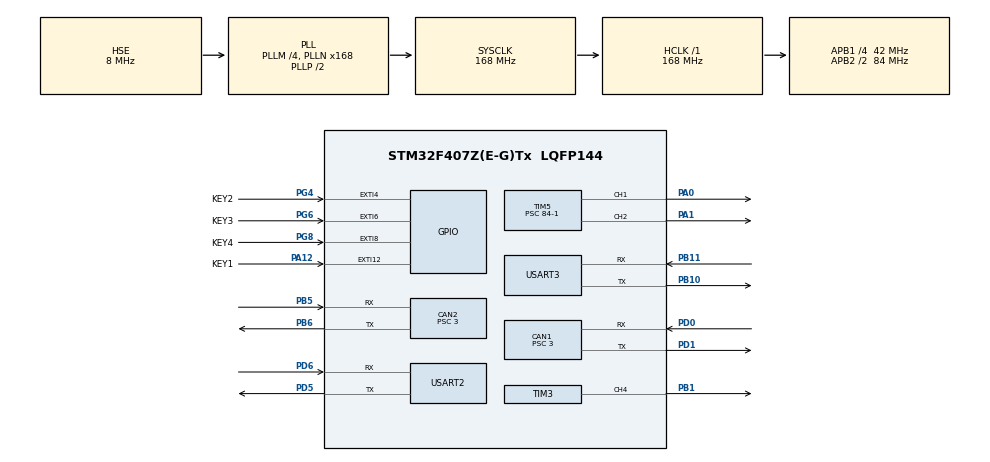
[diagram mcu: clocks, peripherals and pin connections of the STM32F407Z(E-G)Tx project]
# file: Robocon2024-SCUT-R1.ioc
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CAN1.BS1=CAN_BS1_9TQ
CAN1.BS2=CAN_BS2_4TQ
CAN1.CalculateBaudRate=1000000
CAN1.CalculateTimeBit=1000
CAN1.CalculateTimeQuantum=71.42857142857143
CAN1.Prescaler=3
CAN2.BS1=CAN_BS1_9TQ
CAN2.BS2=CAN_BS2_4TQ
CAN2.CalculateBaudRate=1000000
CAN2.CalculateTimeBit=1000
CAN2.CalculateTimeQuantum=71.42857142857143
CAN2.Prescaler=3
Dma.Request0=USART3_RX
Dma.Request1=USART3_TX
Dma.Request2=USART2_RX
Dma.Request3=USART2_TX
Dma.USART2_RX.2.Direction=DMA_PERIPH_TO_MEMORY
Dma.USART2_RX.2.FIFOMode=DMA_FIFOMODE_DISABLE
Dma.USART2_RX.2.Instance=DMA1_Stream5
Dma.USART2_RX.2.MemDataAlignment=DMA_MDATAALIGN_BYTE
Dma.USART2_RX.2.MemInc=DMA_MINC_ENABLE
Dma.USART2_RX.2.Mode=DMA_NORMAL
Dma.USART2_RX.2.PeriphDataAlignment=DMA_PDATAALIGN_BYTE
Dma.USART2_RX.2.PeriphInc=DMA_PINC_DISABLE
Dma.USART2_RX.2.Priority=DMA_PRIORITY_LOW
Dma.USART2_TX.3.Direction=DMA_MEMORY_TO_PERIPH
Dma.USART2_TX.3.FIFOMode=DMA_FIFOMODE_DISABLE
Dma.USART2_TX.3.Instance=DMA1_Stream6
Dma.USART2_TX.3.MemDataAlignment=DMA_MDATAALIGN_BYTE
Dma.USART2_TX.3.MemInc=DMA_MINC_ENABLE
Dma.USART2_TX.3.Mode=DMA_NORMAL
Dma.USART2_TX.3.PeriphDataAlignment=DMA_PDATAALIGN_BYTE
Dma.USART2_TX.3.PeriphInc=DMA_PINC_DISABLE
Dma.USART2_TX.3.Priority=DMA_PRIORITY_LOW
Dma.USART3_RX.0.Direction=DMA_PERIPH_TO_MEMORY
Dma.USART3_RX.0.FIFOMode=DMA_FIFOMODE_DISABLE
Dma.USART3_RX.0.Instance=DMA1_Stream1
Dma.USART3_RX.0.MemDataAlignment=DMA_MDATAALIGN_BYTE
Dma.USART3_RX.0.MemInc=DMA_MINC_ENABLE
Dma.USART3_RX.0.Mode=DMA_NORMAL
Dma.USART3_RX.0.PeriphDataAlignment=DMA_PDATAALIGN_BYTE
Dma.USART3_RX.0.PeriphInc=DMA_PINC_DISABLE
Dma.USART3_RX.0.Priority=DMA_PRIORITY_LOW
Dma.USART3_TX.1.Direction=DMA_MEMORY_TO_PERIPH
Dma.USART3_TX.1.FIFOMode=DMA_FIFOMODE_DISABLE
Dma.USART3_TX.1.Instance=DMA1_Stream3
Dma.USART3_TX.1.MemDataAlignment=DMA_MDATAALIGN_BYTE
Dma.USART3_TX.1.MemInc=DMA_MINC_ENABLE
Dma.USART3_TX.1.Mode=DMA_NORMAL
Dma.USART3_TX.1.PeriphDataAlignment=DMA_PDATAALIGN_BYTE
Dma.USART3_TX.1.PeriphInc=DMA_PINC_DISABLE
Dma.USART3_TX.1.Priority=DMA_PRIORITY_LOW
FREERTOS.Tasks01=defaultTask,24,128,StartDefaultTask,Default,NULL,Dynamic,NULL,NULL;ballTask,8,128,StartBallTask,Default,NULL,Dynamic,NULL,NULL;clampTask,8,128,StartClampTask,Default,NULL,Dynamic,NULL,NULL;clampPIDTask,8,128,StartClampPIDTask,Default,NULL,Dynamic,NULL,NULL
IWDG.Prescaler=IWDG_PRESCALER_64
IWDG.Reload=625
Mcu.Family=STM32F4
Mcu.Name=STM32F407Z(E-G)Tx
Mcu.Package=LQFP144
NVIC.CAN1_RX0_IRQn=true\:5\:0\:true\:false\:true\:true\:true\:true\:true
NVIC.CAN1_TX_IRQn=true\:5\:0\:true\:false\:true\:true\:true\:true\:true
NVIC.CAN2_RX0_IRQn=true\:5\:0\:false\:false\:true\:true\:true\:true\:true
NVIC.CAN2_TX_IRQn=true\:5\:0\:false\:false\:true\:true\:true\:true\:true
NVIC.DMA1_Stream1_IRQn=true\:5\:0\:false\:false\:true\:true\:false\:true\:true
NVIC.DMA1_Stream3_IRQn=true\:5\:0\:false\:false\:true\:true\:false\:true\:true
NVIC.DMA1_Stream5_IRQn=true\:5\:0\:false\:false\:true\:true\:false\:true\:true
NVIC.DMA1_Stream6_IRQn=true\:5\:0\:false\:false\:true\:true\:false\:true\:true
NVIC.EXTI15_10_IRQn=true\:9\:0\:true\:false\:true\:true\:true\:true\:true
NVIC.EXTI4_IRQn=true\:9\:0\:true\:false\:true\:true\:true\:true\:true
NVIC.EXTI9_5_IRQn=true\:9\:0\:true\:false\:true\:true\:true\:true\:true
NVIC.PriorityGroup=NVIC_PRIORITYGROUP_4
NVIC.TIM1_UP_TIM10_IRQn=true\:5\:0\:true\:false\:true\:true\:true\:true\:true
NVIC.TIM7_IRQn=true\:15\:0\:false\:false\:true\:false\:false\:true\:true
NVIC.TimeBase=TIM7_IRQn
NVIC.TimeBaseIP=TIM7
NVIC.USART2_IRQn=true\:5\:0\:true\:false\:true\:true\:true\:true\:true
NVIC.USART3_IRQn=true\:5\:0\:false\:false\:true\:true\:true\:true\:true
PA0-WKUP.Signal=S_TIM5_CH1
PA1.Signal=S_TIM5_CH2
PA12.GPIO_Label=KEY1
PA12.GPIO_ModeDefaultEXTI=GPIO_MODE_IT_FALLING
PA12.GPIO_PuPd=GPIO_PULLUP
PA12.Signal=GPXTI12
PA13.Mode=Serial_Wire
PA13.Signal=SYS_JTMS-SWDIO
PA14.Mode=Serial_Wire
PA14.Signal=SYS_JTCK-SWCLK
PB1.Signal=S_TIM3_CH4
PB10.Mode=Asynchronous
PB10.Signal=USART3_TX
PB11.Mode=Asynchronous
PB11.Signal=USART3_RX
PB5.Mode=CAN_Activate
PB5.Signal=CAN2_RX
PB6.Mode=CAN_Activate
PB6.Signal=CAN2_TX
PD0.Mode=CAN_Activate
PD0.Signal=CAN1_RX
PD1.Mode=CAN_Activate
PD1.Signal=CAN1_TX
PD5.Mode=Asynchronous
PD5.Signal=USART2_TX
PD6.Mode=Asynchronous
PD6.Signal=USART2_RX
PG4.GPIO_Label=KEY2
PG4.GPIO_ModeDefaultEXTI=GPIO_MODE_IT_FALLING
PG4.GPIO_PuPd=GPIO_PULLUP
PG4.Signal=GPXTI4
PG6.GPIO_Label=KEY3
PG6.GPIO_ModeDefaultEXTI=GPIO_MODE_IT_FALLING
PG6.GPIO_PuPd=GPIO_PULLUP
PG6.Signal=GPXTI6
PG8.GPIO_Label=KEY4
PG8.GPIO_ModeDefaultEXTI=GPIO_MODE_IT_FALLING
PG8.GPIO_PuPd=GPIO_PULLUP
PG8.Signal=GPXTI8
PH0-OSC_IN.Mode=HSE-External-Oscillator
PH0-OSC_IN.Signal=RCC_OSC_IN
PH1-OSC_OUT.Mode=HSE-External-Oscillator
PH1-OSC_OUT.Signal=RCC_OSC_OUT
ProjectManager.HeapSize=0x200
ProjectManager.StackSize=0x400
ProjectManager.TargetToolchain=MDK-ARM V5.32
RCC.48MHZClocksFreq_Value=84000000
RCC.AHBFreq_Value=168000000
RCC.APB1CLKDivider=RCC_HCLK_DIV4
RCC.APB1Freq_Value=42000000
RCC.APB1TimFreq_Value=84000000
RCC.APB2CLKDivider=RCC_HCLK_DIV2
RCC.APB2Freq_Value=84000000
RCC.APB2TimFreq_Value=168000000
RCC.CortexFreq_Value=168000000
RCC.HCLKFreq_Value=168000000
RCC.HSE_VALUE=8000000
RCC.HSI_VALUE=16000000
RCC.LSE_VALUE=32768
RCC.PLLM=4
RCC.PLLN=168
RCC.PLLSourceVirtual=RCC_PLLSOURCE_HSE
RCC.SYSCLKFreq_VALUE=168000000
RCC.SYSCLKSource=RCC_SYSCLKSOURCE_PLLCLK
RCC.VCOOutputFreq_Value=336000000
SH.S_TIM3_CH4.0=TIM3_CH4,PWM Generation4 CH4
SH.S_TIM5_CH1.0=TIM5_CH1,PWM Generation1 CH1
SH.S_TIM5_CH2.0=TIM5_CH2,PWM Generation2 CH2
STMicroelectronics.X-CUBE-ALGOBUILD.1.3.0.LibraryCcDSPOoLibraryJjDSPOoLibrary=true
TIM10.AutoReloadPreload=TIM_AUTORELOAD_PRELOAD_ENABLE
TIM10.Period=1000-1
TIM10.Prescaler=168-1
TIM3.Channel-PWM\ Generation4\ CH4=TIM_CHANNEL_4
TIM3.Period=20000-1
TIM3.Prescaler=84-1
TIM3.Pulse-PWM\ Generation4\ CH4=15500
TIM5.Channel-PWM\ Generation1\ CH1=TIM_CHANNEL_1
TIM5.Channel-PWM\ Generation2\ CH2=TIM_CHANNEL_2
TIM5.Period=20000-1
TIM5.Prescaler=84-1
TIM5.Pulse-PWM\ Generation1\ CH1=20000-2000
TIM5.Pulse-PWM\ Generation2\ CH2=17910
USART2.VirtualMode=VM_ASYNC
USART3.VirtualMode=VM_ASYNC
VP_FREERTOS_VS_CMSIS_V2.Mode=CMSIS_V2
VP_IWDG_VS_IWDG.Mode=IWDG_Activate
VP_STMicroelectronics.X-CUBE-ALGOBUILD_VS_DSPOoLibraryJjLibrary_1.3.0_1.3.0.Mode=DSPOoLibraryJjLibrary
VP_SYS_VS_tim7.Mode=TIM7
VP_TIM10_VS_ClockSourceINT.Mode=Enable_Timer
board=custom

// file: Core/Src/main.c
/* USER CODE BEGIN Header */
/**
 ******************************************************************************
 * @file           : main.c
 * @brief          : Main program body
 ******************************************************************************
 * @attention
 *
 * Copyright (c) 2023 STMicroelectronics.
 * All rights reserved.
 *
 * This software is licensed under terms that can be found in the LICENSE file
 * in the root directory of this software component.
 * If no LICENSE file comes with this software, it is provided AS-IS.
 *
 ******************************************************************************
 */
/* USER CODE END Header */
#include "main.h"
#include "cmsis_os.h"
#include "can.h"
#include "dma.h"
#include "iwdg.h"
#include "tim.h"
#include "usart.h"
#include "gpio.h"

/* USER CODE BEGIN Includes */

#include "PID_MODEL.h"
#include "arm_math.h"
#include "bsp_can.h"
#include "motorctrl.h"
#include "stdio.h"
#include "calculate.h"
#include "math.h"
#include "delay.h"
#include "solve.h"
#include "logic.h"
// #include "R1_Ball_MODEL.h"
/* USER CODE END Includes */

/* USER CODE BEGIN PTD */

// #define VEL 1
// #define ANG 2
// extern motor_measure_t *motor_data[8];
// extern motor_measure_t *motor_data1[8];
typedef struct __FILE FILE;
/* USER CODE END PTD */

/* USER CODE BEGIN PD */
#define USART_REC_LEN 100 //
#define RXBUFFERSIZE 1    //

uint8_t USART2_RX_BUF[USART_REC_LEN];
uint16_t USART2_RX_STA = 0;
uint8_t aRxBuffer2[RXBUFFERSIZE];
UART_HandleTypeDef UART2_Handler;

int receivefactor[2];
int factor[2] = {0};
int factor1[2] = {0};

// double Vx, Vy, omega = 0;

double theta[4];

DataPacket DataRe;
int16_t lx, ly, rx, ry, lp, rp;
uint8_t B1, B2;
uint8_t Cal_Parity;

uint8_t USART_FLAG = 0;
uint8_T BUTTON_State = 0;

extern int can_output[8];
extern uint8_t data[10];
double TEST_ANG[2] = {0, 0};
/* USER CODE END PD */

void SystemClock_Config(void);
void MX_FREERTOS_Init(void);

int main(void)
{

  /* MCU Configuration--------------------------------------------------------*/

  /* Reset of all peripherals, Initializes the Flash interface and the Systick. */
  HAL_Init();

  /* Configure the system clock */
  SystemClock_Config();

  /* Initialize all configured peripherals */
  MX_GPIO_Init();
  MX_DMA_Init();
  MX_CAN1_Init();
  MX_TIM10_Init();
  MX_USART3_UART_Init();
  MX_IWDG_Init();
  MX_CAN2_Init();
  MX_USART2_UART_Init();
  MX_TIM5_Init();
  MX_TIM3_Init();
  /* USER CODE BEGIN 2 */
  // Controler Receive Init
  HAL_UART_Receive_DMA(&huart3, (uint8_t *)&DataRe, 1);
  HAL_UART_Receive_DMA(&huart2, aRxBuffer2, 1);

  // MATLAB Init
  PID_MODEL_initialize();
  HAL_TIM_Base_Start_IT(&htim10);

  // CAN Init
  can_filter_init();
  HAL_CAN_Start(&hcan1);
  HAL_CAN_ActivateNotification(&hcan1, CAN_IT_RX_FIFO0_MSG_PENDING);
  HAL_CAN_Start(&hcan2);
  HAL_CAN_ActivateNotification(&hcan2, CAN_IT_RX_FIFO0_MSG_PENDING);

  // Chassis PID Init
  // pid3508(1.5, 0.3, 0.01);
  // pid2006(1.5, 0.3, 0.01);
  // Apid2006(0.5, 0.1, 0.01);
  PID_Speed_Para_Init(1, 1, 1.5, 0.3, 0.01);
  PID_Speed_Para_Init(1, 2, 1.5, 0.3, 0.01);
  PID_Speed_Para_Init(1, 3, 1.5, 0.3, 0.01);
  PID_Speed_Para_Init(1, 4, 1.5, 0.3, 0.01);

  PID_Angle_S_Para_Init(1, 1, 1.5, 0.3, 0.01);
  PID_Angle_A_Para_Init(1, 1, 0.5, 0.1, 0.01);
  PID_Angle_S_Para_Init(1, 2, 1.5, 0.3, 0.01);
  PID_Angle_A_Para_Init(1, 2, 0.5, 0.1, 0.01);
  PID_Angle_S_Para_Init(1, 3, 1.5, 0.3, 0.01);
  PID_Angle_A_Para_Init(1, 3, 0.5, 0.1, 0.01);
  PID_Angle_S_Para_Init(1, 4, 1.5, 0.3, 0.01);
  PID_Angle_A_Para_Init(1, 4, 0.5, 0.1, 0.01);

  // Clamp TIM Init
  HAL_TIM_PWM_Start(&htim3, TIM_CHANNEL_4);
  __HAL_TIM_SET_COMPARE(&htim3, TIM_CHANNEL_4, servo_LO); // 舵机松开
  HAL_Delay(500);

  // Clamp PID Init
  // PID_Angle_S_Para_Init(2, 3, 1.5, 0.3, 0.01);
  // PID_Angle_S_Para_Init(2, 4, 1.5, 0.3, 0.01);

  // PID_Angle_A_Para_Init(2, 3, 0.5, 0.1, 0.01);
  // PID_Angle_A_Para_Init(2, 4, 0.5, 0.1, 0.01);
  PID_Angle_S_Para_Init(2, 3, 0.6901 * 0.75, 2.3727 * 0.17, 0.01);
  PID_Angle_S_Para_Init(2, 4, 0.6901 * 0.7, 2.3727 * 0.11, 0.0126);

  PID_Angle_A_Para_Init(2, 3, 0.83005 * 0.85, 0.38548 * 0.02, 0.04);
  PID_Angle_A_Para_Init(2, 4, 0.83005 * 0.6, 0.38548 * 0.02, 0.051858);

  rtP.TRANS_CH2_3 = 1.1;
  rtP.TRANS_CH2_4 = 0.4;

  rtP.DEADBAND_CH2_3 = 800;
  rtP.DEADBAND_CH2_4 = 800;

  /* USER CODE END 2 */

  /* Init scheduler */
  osKernelInitialize();

  /* Call init function for freertos objects (in cmsis_os2.c) */
  MX_FREERTOS_Init();

  /* Start scheduler */
  osKernelStart();

  /* We should never get here as control is now taken by the scheduler */

  /* Infinite loop */
  while (1)
  {

  }
}

void SystemClock_Config(void)
{
  RCC_OscInitTypeDef RCC_OscInitStruct = {0};
  RCC_ClkInitTypeDef RCC_ClkInitStruct = {0};

  /** Configure the main internal regulator output voltage
   */
  __HAL_RCC_PWR_CLK_ENABLE();
  __HAL_PWR_VOLTAGESCALING_CONFIG(PWR_REGULATOR_VOLTAGE_SCALE1);

  /** Initializes the RCC Oscillators according to the specified parameters
   * in the RCC_OscInitTypeDef structure.
   */
  RCC_OscInitStruct.OscillatorType = RCC_OSCILLATORTYPE_LSI | RCC_OSCILLATORTYPE_HSE;
  RCC_OscInitStruct.HSEState = RCC_HSE_ON;
  RCC_OscInitStruct.LSIState = RCC_LSI_ON;
  RCC_OscInitStruct.PLL.PLLState = RCC_PLL_ON;
  RCC_OscInitStruct.PLL.PLLSource = RCC_PLLSOURCE_HSE;
  RCC_OscInitStruct.PLL.PLLM = 4;
  RCC_OscInitStruct.PLL.PLLN = 168;
  RCC_OscInitStruct.PLL.PLLP = RCC_PLLP_DIV2;
  RCC_OscInitStruct.PLL.PLLQ = 4;
  if (HAL_RCC_OscConfig(&RCC_OscInitStruct) != HAL_OK)
  {
    Error_Handler();
  }

  /** Initializes the CPU, AHB and APB buses clocks
   */
  RCC_ClkInitStruct.ClockType = RCC_CLOCKTYPE_HCLK | RCC_CLOCKTYPE_SYSCLK | RCC_CLOCKTYPE_PCLK1 | RCC_CLOCKTYPE_PCLK2;
  RCC_ClkInitStruct.SYSCLKSource = RCC_SYSCLKSOURCE_PLLCLK;
  RCC_ClkInitStruct.AHBCLKDivider = RCC_SYSCLK_DIV1;
  RCC_ClkInitStruct.APB1CLKDivider = RCC_HCLK_DIV4;
  RCC_ClkInitStruct.APB2CLKDivider = RCC_HCLK_DIV2;

  if (HAL_RCC_ClockConfig(&RCC_ClkInitStruct, FLASH_LATENCY_5) != HAL_OK)
  {
    Error_Handler();
  }
}

/* USER CODE BEGIN 4 */

// void HAL_UART_RxCpltCallback(UART_HandleTypeDef *huart)
//{
//		if(DataRe.header==0xAA)
//		{
//			CAL_MESSAGE();
//			HAL_UART_Receive_DMA(&huart3, (uint8_t*)&DataRe + 1, sizeof(DataPacket) - 1);
//		}
//		else if(DataRe.header!=0xAA)
//		{
//			HAL_UART_Receive_DMA(&huart3, (uint8_t*)&DataRe, 1);
//		}
// }
void HAL_UART_RxCpltCallback(UART_HandleTypeDef *huart)
{
  if (huart->Instance == USART3)
  {
    if (DataRe.header == 0xAA && USART_FLAG == 0)
    {
      receivefactor[0] = 1;
      CAL_MESSAGE();
      HAL_UART_Receive_DMA(&huart3, (uint8_t *)&DataRe + 1, sizeof(DataPacket) - 1);
      USART_FLAG = 1;
    }
    if (DataRe.header == 0xAA && USART_FLAG == 1)
    {
      receivefactor[0] = 1;
      CAL_MESSAGE();
      HAL_UART_Receive_DMA(&huart3, (uint8_t *)&DataRe, sizeof(DataPacket));
    }
    else
    {
      HAL_UART_Receive_DMA(&huart3, (uint8_t *)&DataRe, 1);
      USART_FLAG = 0;
    }
  }

  while (huart->Instance == USART2) // uart2 ?
  {
    USART2_RX_BUF[USART2_RX_STA] = aRxBuffer2[0];
    if (USART2_RX_STA == 0 && USART2_RX_BUF[USART2_RX_STA] != 0x0F)
    {
      HAL_UART_Receive_DMA(&huart2, aRxBuffer2, 1);
      break; //
    }
    USART2_RX_STA++;
    HAL_UART_Receive_DMA(&huart2, aRxBuffer2, 1);
    if (USART2_RX_STA > USART_REC_LEN)
      USART2_RX_STA = 0;                                                              //
    if (USART2_RX_BUF[0] == 0x0F && USART2_RX_BUF[15] == 0xAA && USART2_RX_STA == 16) // 检测包头包尾以及数据包长度
    {
      Receive();
      receivefactor[1] = 1;
      Reach_TGT();
      //			for(int i=0;i<14;i++)
      //			  USART2_RX_BUF[i] = 0;//清除数据
      USART2_RX_STA = 0;
    }
    else if (!(USART2_RX_BUF[0] == 0x0F && USART2_RX_BUF[15] == 0xAA) && USART2_RX_STA == 16)
    {
      for (int i = 0; i < 16; i++)
        USART2_RX_BUF[i] = 0; // 清除数据
      USART2_RX_STA = 0;
    }

    break;
  }
}

// 错误回调
void HAL_UART_ErrorCallback(UART_HandleTypeDef *huart)
{
  if (huart->Instance == USART3)
  {
    HAL_UART_Receive_DMA(&huart3, (uint8_t *)&DataRe, 1);
    USART_FLAG = 0;
  }
  if (huart->Instance == USART2)
  {
    HAL_UART_Receive_DMA(&huart2, aRxBuffer2, 1);
  }
}

/* USER CODE END 4 */

void HAL_TIM_PeriodElapsedCallback(TIM_HandleTypeDef *htim)
{
  if (htim->Instance == TIM7)
  {
    HAL_IncTick();
  }
  /* USER CODE BEGIN Callback 1 */
  if (htim == &htim10)
  {

    /* CLAMP FUCTION */
    HAL_UART_Transmit_DMA(&huart2, data, 10);
    target_monitor();
    /* 3508 */
    ANG_TGT[M_3508] = YAW_TGT[M_3508] * 3591 * 8191 / (187 * 360);
    rtU.yaw_target_CH2_3 = ANG_TGT[M_3508];
    rtU.yaw_circle_CH2_3 = motor_data1[M_3508]->circle;
    rtU.yaw_speed_rpm_CH2_3 = motor_data1[M_3508]->speed_rpm;
    rtU.yaw_ecd_CH2_3 = motor_data1[M_3508]->ecd;
    rtU.yaw_last_ecd_CH2_3 = motor_data1[M_3508]->last_ecd;
    /* OUT PUT */
    motor_data1[M_3508]->circle = rtU.yaw_circle_CH2_3;

    /* 2006 */
    ANG_TGT[M_2006] = YAW_TGT[M_2006] * 36 * 8191 * 2 / (1 * 360);
    rtU.yaw_target_CH2_4 = ANG_TGT[M_2006];
    rtU.yaw_circle_CH2_4 = motor_data1[M_2006]->circle;
    rtU.yaw_speed_rpm_CH2_4 = motor_data1[M_2006]->speed_rpm;
    rtU.yaw_ecd_CH2_4 = motor_data1[M_2006]->ecd;
    rtU.yaw_last_ecd_CH2_4 = motor_data1[M_2006]->last_ecd;
    /* OUT PUT */
    motor_data1[M_2006]->circle = rtU.yaw_circle_CH2_4;

    TEST_ANG[0] = (motor_data1[M_2006]->circle) * 8191 + (motor_data1[M_2006]->ecd) * 360 / (36 * 8191 * 2);
    TEST_ANG[1] = (motor_data1[M_3508]->circle) * 8191 + (motor_data1[M_3508]->ecd) * (360 * 187) / (3591 * 8191);

    assign_output();
    PID_MODEL_step();
    motor_state_update();
    motor_state_update1();
  }
  /* USER CODE END Callback 1 */
}

void Error_Handler(void)
{
  __disable_irq();
  while (1)
  {
  }
}

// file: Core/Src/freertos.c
/* USER CODE BEGIN Header */
/**
 ******************************************************************************
 * File Name          : freertos.c
 * Description        : Code for freertos applications
 ******************************************************************************
 * @attention
 *
 * Copyright (c) 2024 STMicroelectronics.
 * All rights reserved.
 *
 * This software is licensed under terms that can be found in the LICENSE file
 * in the root directory of this software component.
 * If no LICENSE file comes with this software, it is provided AS-IS.
 *
 ******************************************************************************
 */
/* USER CODE END Header */

#include "FreeRTOS.h"
#include "task.h"
#include "main.h"
#include "cmsis_os.h"

/* USER CODE BEGIN Includes */
#include "PID_MODEL.h"
#include "arm_math.h"
#include "bsp_can.h"
#include "motorctrl.h"
#include "stdio.h"
#include "calculate.h"
#include "math.h"
#include "delay.h"
#include "logic.h"
#include "solve.h"
// #include "R1_Ball_MODEL.h"

/* USER CODE END Includes */

/* USER CODE BEGIN PTD */
#define VEL 1
#define ANG 2

/**
 * @brief motor definition
 * motor_data[0] - motor_data[3]: chassis motors
 * motor_data[4]: ball shooter motor
 * motor_data[5]: ball right motor
 * motor_data[6]: ball left motor
 * motor_data[7]: ball lift motor
 */

extern motor_measure_t *motor_data[8];
extern motor_measure_t *motor_data1[8];
/* USER CODE END PTD */

/* USER CODE BEGIN PD */

extern int receivefactor[4];
extern int factor[2];
extern int factor1[2];

extern DataPacket DataRe;
extern int16_t lx, ly, rx, ry, lp, rp;
extern uint8_t B1, B2;
extern uint8_t Cal_Parity;

extern uint8_t BUTTON_State;
extern boolean_T SWITCH_LF_State;
extern boolean_T SWITCH_LB_State;
extern boolean_T SWITCH_RF_State;
extern boolean_T SWITCH_RB_State;

extern double output[16];

double Vx, Vy, omega = 0;
double temp_Vx, temp_Vy, temp_omega = 0;
uint8_t temp_BUTTON_State = 0;

double temp_compare_value1 = 20000 - 2000;
double temp_compare_value2 = 20000 - 1000;

double Controller_Deadband = 500;

/* R1 Ball Definition */
double SHOOT_UP_TGT = 0;
double SHOOT_DOWN_TGT = 0;
double SHOOT_R_TGT = 0;
double SHOOT_L_TGT = 0;
double LIFT_TGT = 0;

int16_t shoot_up_out = 0;
int16_t shoot_r_out = 0;
int16_t shoot_l_out = 0;
int16_t lift_out = 0;
TGT_COOR TC;
REAL_COOR RC;
const int M3508_MAX = 8911;
const int M2006_MAX = 14976;

const int ROLL_init = 150, GIVE_init = 155;
int ROLL_ANG = ROLL_init, GIVE_ANG = GIVE_init;
int ROLL_state = 0, GIVE_state = 0;

/* R1 Clamp Definition */
enum State current_state = S_0;
enum FLAG Logic_FLAG = FREE;
enum FLAG move_FLAG[8] = {FREE, FREE};
enum FLAG servo_FLAG = FREE;
uint8_t num_state = 0;
double TEMP_YAW_TGT_2006 = 0;
enum FLAG logic_change = FREE;

// 目标角度
double YAW_TGT[8] = {0};
// 计算后的角度
double ANG_TGT[8] = {0};
// 当前角度
double current_ang = 0;
// can输出数�??
int can_output[8] = {0};
// 标志�????
uint8_t FLAG = 0;
// 当前角度
double current_target[8] = {0};
// 角度误差
double target_error[8] = {0};

/* USER CODE END PD */

/* Definitions for defaultTask */
osThreadId_t defaultTaskHandle;
const osThreadAttr_t defaultTask_attributes = {
    .name = "defaultTask",
    .stack_size = 128 * 4,
    .priority = (osPriority_t)osPriorityNormal,
};
/* Definitions for ballTask */
osThreadId_t ballTaskHandle;
const osThreadAttr_t ballTask_attributes = {
    .name = "ballTask",
    .stack_size = 128 * 4,
    .priority = (osPriority_t)osPriorityLow,
};
/* Definitions for clampTask */
osThreadId_t clampTaskHandle;
const osThreadAttr_t clampTask_attributes = {
    .name = "clampTask",
    .stack_size = 128 * 4,
    .priority = (osPriority_t)osPriorityLow,
};
/* Definitions for clampPIDTask */
osThreadId_t clampPIDTaskHandle;
const osThreadAttr_t clampPIDTask_attributes = {
    .name = "clampPIDTask",
    .stack_size = 128 * 4,
    .priority = (osPriority_t)osPriorityLow,
};

/* USER CODE BEGIN FunctionPrototypes */
void Set_servo(TIM_HandleTypeDef *htim, uint32_t Channel, uint8_t angle, uint32_t countPeriod, uint32_t CycleTime)
{
  uint16_t compare_value = 0;
  if (angle <= 180)
  {
    compare_value = 0.5 * countPeriod / CycleTime + angle * countPeriod / CycleTime / 90;
    __HAL_TIM_SET_COMPARE(htim, Channel, compare_value);
  }
}

void R1_Ball_ON(void)
{
  ROLL_ANG = 60;
  GIVE_ANG = 155;
  Set_servo(&htim5, TIM_CHANNEL_1, ROLL_ANG, 20000, 20);
  Set_servo(&htim5, TIM_CHANNEL_2, GIVE_ANG, 20000, 20);
  SHOOT_UP_TGT = 0;
  SHOOT_DOWN_TGT = 0;
  LIFT_TGT = 8000;
}

void R1_BALL_STEP(void)
{
  SHOOT_UP_TGT = 3000;
  SHOOT_DOWN_TGT = 7000;
  ROLL_ANG = 150;
  Set_servo(&htim5, TIM_CHANNEL_1, ROLL_ANG, 20000, 20);
  HAL_Delay(7000);

  GIVE_ANG = 145;
  Set_servo(&htim5, TIM_CHANNEL_1, ROLL_ANG, 20000, 20);
  Set_servo(&htim5, TIM_CHANNEL_2, GIVE_ANG, 20000, 20);
  HAL_Delay(500);

  GIVE_ANG = 135;
  Set_servo(&htim5, TIM_CHANNEL_2, GIVE_ANG, 20000, 20);
  HAL_Delay(500);

  GIVE_ANG = 120;
  Set_servo(&htim5, TIM_CHANNEL_2, GIVE_ANG, 20000, 20);
  HAL_Delay(2000);

  R1_Ball_ON();
}

void R1_Ball_OFF(void)
{
  SHOOT_UP_TGT = 0;
  SHOOT_DOWN_TGT = 0;
  LIFT_TGT = 0;
  ROLL_ANG = 150;
  GIVE_ANG = 155;
  Set_servo(&htim5, TIM_CHANNEL_1, ROLL_ANG, 20000, 20);
  Set_servo(&htim5, TIM_CHANNEL_2, GIVE_ANG, 20000, 20);
}

void STOP(void)
{
  SHOOT_UP_TGT = 0;
  SHOOT_DOWN_TGT = 0;
  SHOOT_R_TGT = 0;
  SHOOT_L_TGT = 0;
  LIFT_TGT = 0;
  ROLL_ANG = ROLL_init;
  GIVE_ANG = GIVE_init;
  // CAN_cmd_chassis(0, 0, 0, 0);
  output[CH1_5] = 0;
  output[CH1_6] = 0;
  output[CH1_7] = 0;
  output[CH2_7] = 0;
  CAN1_cmd_chassis(output[CH1_1], output[CH1_2], output[CH1_3], output[CH1_4], output[CH1_5], output[CH1_6], output[CH1_7], 0);
  Set_servo(&htim5, TIM_CHANNEL_1, ROLL_init, 20000, 20);
  Set_servo(&htim5, TIM_CHANNEL_2, GIVE_init, 20000, 20);
}

/* USER CODE END FunctionPrototypes */

void StartDefaultTask(void *argument);
void StartBallTask(void *argument);
void StartClampTask(void *argument);
void StartClampPIDTask(void *argument);

void MX_FREERTOS_Init(void); /* (MISRA C 2004 rule 8.1) */

void MX_FREERTOS_Init(void)
{

  /* Create the thread(s) */
  /* creation of defaultTask */
  defaultTaskHandle = osThreadNew(StartDefaultTask, NULL, &defaultTask_attributes);

  /* creation of ballTask */
  ballTaskHandle = osThreadNew(StartBallTask, NULL, &ballTask_attributes);

  /* creation of clampTask */
  clampTaskHandle = osThreadNew(StartClampTask, NULL, &clampTask_attributes);

  /* creation of clampPIDTask */
  clampPIDTaskHandle = osThreadNew(StartClampPIDTask, NULL, &clampPIDTask_attributes);

}

void StartDefaultTask(void *argument)
{
  /* USER CODE BEGIN StartDefaultTask */
  /* Infinite loop */
  for (;;)
  {
    CAL_TXMESSAGE();
    if (SWITCH_LB_State == 1)
    {
      Vx = RC.Vx;
      Vy = RC.Vy;
      omega = RC.omega;
    }
    else if (SWITCH_LB_State == 0)
    {
      Vx = rx / 9;
      Vy = ry / 9;
      omega = lx / 9;

      if (Vx > Controller_Deadband)
      {
        Vx -= Controller_Deadband;
      }
      else if (Vx < -Controller_Deadband)
      {
        Vx += Controller_Deadband;
      }
      else
      {
        Vx = 0;
      }

      if (Vy > Controller_Deadband)
      {
        Vy -= Controller_Deadband;
      }
      else if (Vy < -Controller_Deadband)
      {
        Vy += Controller_Deadband;
      }
      else
      {
        Vy = 0;
      }

      if (omega > Controller_Deadband)
      {
        omega -= Controller_Deadband;
      }
      else if (omega < -Controller_Deadband)
      {
        omega += Controller_Deadband;
      }
      else
      {
        omega = 0;
      }
    }

    factor1[0]++;

    if (receivefactor[0] == 0) // 没接收到就增加标志位
      factor[0]++;
    if (factor[0] > 300)
    {
      Vx = 0;
      Vy = 0;
      omega = 0;

      rx = 0;
      ry = 0;
      lx = 0;
      ly = 0;
      factor[0] = 301;
    } // 1s没收到就全部停下
    if (receivefactor[0] == 1) // 接收到就标志位置0
      factor[0] = 0;

    if (factor1[0] == 50)
    {
      receivefactor[0] = 0; // 0.05s更新1次确定为没接收到
      factor1[0] = 0;
    }

    // factor1[1]++;

    // if (receivefactor[1] == 0) // 没接收到就增加标志位
    //   factor[1]++;
    // if (factor[1] > 300)
    // {
    //   Vx = 0;
    //   Vy = 0;
    //   omega = 0;
    //   factor[1] = 301;
    // } // 1s没收到就全部停下
    // if (receivefactor[1] == 1) // 接收到就标志位置0
    //   factor[1] = 0;

    // if (factor1[1] == 50)
    // {
    //   receivefactor[1] = 0; // 0.05s更新1次确定为没接收到
    //   factor1[1] = 0;
    // }

    HAL_IWDG_Refresh(&hiwdg); // 喂狗

    /* SPD TEST */

    get_msgn();

    set_mode(VEL, VEL, VEL, VEL, VEL, VEL, VEL,
             ANG, ANG, ANG, ANG, VEL, VEL, VEL); // �?7个can1,�?7个can2

    ctrlmotor(Vx, Vy, omega);
    osDelay(1);
  }
  /* USER CODE END StartDefaultTask */
}

void StartBallTask(void *argument)
{
  /* USER CODE BEGIN StartBallTask */
  /* Infinite loop */
  for (;;)
  {
    // rtU.yaw_target4 = SHOOT_UP_TGT;
    // rtU.yaw_speed_rpm4 = motor_data[4]->speed_rpm;

    // rtU.yaw_target5 = -SHOOT_DOWN_TGT;
    // rtU.yaw_target6 = SHOOT_DOWN_TGT;

    // rtU.yaw_speed_rpm5 = motor_data[5]->speed_rpm;
    // rtU.yaw_speed_rpm6 = motor_data[6]->speed_rpm;

    // rtU.yaw_target7 = LIFT_TGT;
    // rtU.yaw_speed_rpm7 = motor_data[7]->speed_rpm;

    // output[4] = rtY.yaw_SPD_OUT4;
    // output[5] = rtY.yaw_SPD_OUT5;
    // output[6] = rtY.yaw_SPD_OUT6;
    // output[7] = rtY.yaw_SPD_OUT7;

    // CAN1_cmd_chassis(output[0], output[1], output[2], output[3], output[4], output[5], output[6], output[7]);

    // motor_state_update();
    // __HAL_TIM_SET_COMPARE(&htim5, TIM_CHANNEL_1, temp_compare_value1);
    // __HAL_TIM_SET_COMPARE(&htim5, TIM_CHANNEL_2, temp_compare_value2);

    // switch (temp_BUTTON_State)
    // {

    // case 1:
    //   // Emergency Stop
    //   STOP();
    //   break;

    // case 2:
    //   // R1 Ball ON
    //   R1_BALL_STEP();
    //   break;

    // case 3:
    //   LIFT_TGT = 8000;
    //   break;
    // default:
    //   break;
    // }
    osDelay(1);
  }
  /* USER CODE END StartBallTask */
}

void StartClampTask(void *argument)
{
  /* USER CODE BEGIN StartClampTask */
  /* Infinite loop */
  for (;;)
  {
    if (RC.action == CLAMP_PINCH)
    {
      logic_change = PINCH;
    }
    LOGIC();

    vTaskDelay(100);

    osDelay(1);
  }
  /* USER CODE END StartClampTask */
}

void StartClampPIDTask(void *argument)
{
  /* USER CODE BEGIN StartClampPIDTask */
  /* Infinite loop */
  for (;;)
  {
    //    YAW_TGT[M_3508] = 50;
    //    YAW_TGT[M_2006] = 20;

    // target_monitor();
    // // /* 3508 */
    // ANG_TGT[M_3508] = YAW_TGT[M_3508] * 3591 * 8191 / (187 * 360);
    // // // rtU.yaw_status11 = 2; // ANG
    // rtU.yaw_target11 = ANG_TGT[M_3508];
    // // // rtU.yaw_circle11 = motor_data1[M_3508]->circle;
    // // // can_output[M_3508] = rtY.yaw_ANG_OUT11;
    // // // rtU.yaw_speed_rpm11 = motor_data1[M_3508]->speed_rpm;
    // // // rtU.yaw_ecd11 = motor_data1[M_3508]->ecd;
    // // // rtU.yaw_last_ecd11 = motor_data1[M_3508]->last_ecd;
    // // /* OUT PUT */
    // motor_data1[M_3508]->circle = rtU.yaw_circle11;

    // // /* 2006 */
    // ANG_TGT[M_2006] = YAW_TGT[M_2006] * 36 * 8191 * 2 / (1 * 360);
    // // // rtU.yaw_status12 = 2; // ANG
    // rtU.yaw_target12 = ANG_TGT[M_2006];
    // // // rtU.yaw_circle12 = motor_data1[M_2006]->circle;
    // // // can_output[M_2006] = rtY.yaw_ANG_OUT12;
    // // // rtU.yaw_speed_rpm12 = motor_data1[M_2006]->speed_rpm;
    // // // rtU.yaw_ecd12 = motor_data1[M_2006]->ecd;
    // // // rtU.yaw_last_ecd12 = motor_data1[M_2006]->last_ecd;
    // // /* OUT PUT */
    // motor_data1[M_2006]->circle = rtU.yaw_circle12;

    // // CAN2_cmd_chassis(0, 0, can_output[M_3508], can_output[M_2006], 0, 0, 0, 0);

    // // motor_state_update1();
    osDelay(1);
  }
  /* USER CODE END StartClampPIDTask */
}
